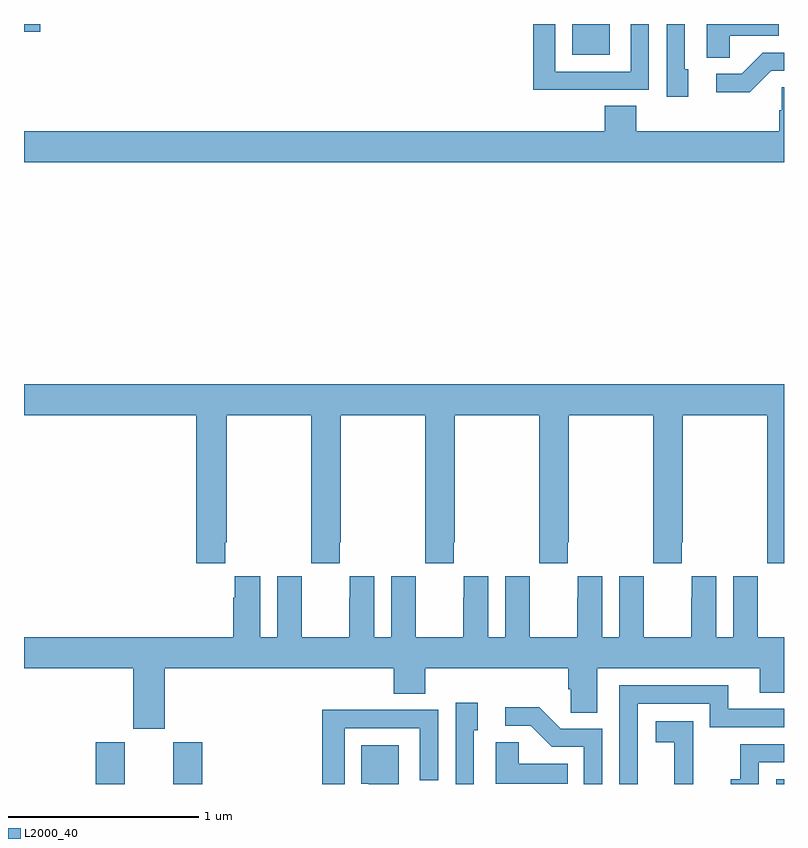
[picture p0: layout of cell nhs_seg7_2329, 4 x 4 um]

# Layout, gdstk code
import gdstk
lib = gdstk.Library(unit=1e-6, precision=1e-09)
def R(c, l, rs):  # rectangles x0, y0, x1, y1
    for r in rs: c.add(gdstk.rectangle(r[:2], r[2:], *l))
def P(c, l, *ps):  # polygons
    for p in ps: c.add(gdstk.Polygon(p, *l))
L2000_40 = (2000, 40)

nhs_seg7_2329 = lib.new_cell('nhs_seg7_2329')
R(nhs_seg7_2329, L2000_40, [(263.378,1008,263.53,1008.219), (263.786,1008,263.939,1008.219), (266.958,1008,267,1008.024), (265.886,1011.839,266.083,1012), (263,1011.959,263.086,1012)])
P(nhs_seg7_2329, L2000_40, [(265.973,1011.654),(266.289,1011.654),(266.289,1012),(266.193,1012),(266.193,1011.75),(265.797,1011.75),(265.797,1012),(265.681,1012),(265.681,1011.653),(265.973,1011.653)],
  [(266.715,1011.938),(266.972,1011.938),(266.972,1012),(266.594,1012),(266.594,1011.823),(266.715,1011.823)],
  [(266.497,1011.762),(266.478,1011.762),(266.478,1012),(266.382,1012),(266.382,1011.618),(266.497,1011.618)],
  [(266.934,1011.753),(267,1011.753),(267,1011.849),(266.888,1011.849),(266.777,1011.738),(266.643,1011.738),(266.643,1011.641),(266.821,1011.641)],
  [(267,1011.668),(266.988,1011.668),(266.988,1011.545),(266.975,1011.545),(266.975,1011.436),(266.222,1011.436),(266.222,1011.569),(266.057,1011.569),(266.057,1011.436),(263,1011.436),(263,1011.272),(267,1011.272)],
  [(264.059,1009.273),(264.066,1009.273),(264.066,1009.94),(264.511,1009.94),(264.511,1009.273),(264.513,1009.273),(264.513,1009.161),(264.663,1009.161),(264.663,1009.273),(264.666,1009.273),(264.666,1009.94),(265.111,1009.94),(265.111,1009.273),(265.113,1009.273),(265.113,1009.161),(265.263,1009.161),(265.263,1009.273),(265.266,1009.273),(265.266,1009.94),(265.711,1009.94),(265.711,1009.273),(265.713,1009.273),(265.713,1009.161),(265.863,1009.161),(265.863,1009.273),(265.866,1009.273),(265.866,1009.94),(266.311,1009.94),(266.311,1009.273),(266.313,1009.273),(266.313,1009.161),(266.463,1009.161),(266.463,1009.273),(266.466,1009.273),(266.466,1009.94),(266.911,1009.94),(266.911,1009.273),(266.913,1009.273),(266.913,1009.161),(267,1009.161),(267,1010.104),(263,1010.104),(263,1009.94),(263.906,1009.94),(263.906,1009.161),(264.059,1009.161)],
  [(266.873,1008.481),(267,1008.481),(267,1008.772),(266.863,1008.772),(266.863,1008.98),(266.862,1008.98),(266.862,1009.093),(266.732,1009.093),(266.732,1008.772),(266.644,1008.772),(266.644,1009.093),(266.514,1009.093),(266.514,1008.98),(266.513,1008.98),(266.513,1008.772),(266.263,1008.772),(266.263,1008.98),(266.262,1008.98),(266.262,1009.093),(266.132,1009.093),(266.132,1008.772),(266.044,1008.772),(266.044,1009.093),(265.914,1009.093),(265.914,1008.98),(265.913,1008.98),(265.913,1008.772),(265.663,1008.772),(265.663,1008.98),(265.662,1008.98),(265.662,1009.093),(265.532,1009.093),(265.532,1008.772),(265.444,1008.772),(265.444,1009.093),(265.314,1009.093),(265.314,1008.98),(265.313,1008.98),(265.313,1008.772),(265.063,1008.772),(265.063,1008.98),(265.062,1008.98),(265.062,1009.093),(264.932,1009.093),(264.932,1008.772),(264.844,1008.772),(264.844,1009.093),(264.714,1009.093),(264.714,1008.98),(264.713,1008.98),(264.713,1008.772),(264.463,1008.772),(264.463,1008.98),(264.462,1008.98),(264.462,1009.093),(264.332,1009.093),(264.332,1008.772),(264.244,1008.772),(264.244,1009.093),(264.11,1009.093),(264.11,1008.98),(264.101,1008.98),(264.101,1008.772),(263,1008.772),(263,1008.608),(263.576,1008.608),(263.576,1008.291),(263.74,1008.291),(263.74,1008.608),(264.947,1008.608),(264.947,1008.475),(265.112,1008.475),(265.112,1008.608),(265.865,1008.608),(265.865,1008.499),(265.878,1008.499),(265.878,1008.376),(266.017,1008.376),(266.017,1008.608),(266.873,1008.608)],
  [(266.229,1008.423),(266.61,1008.423),(266.61,1008.3),(267,1008.3),(267,1008.396),(266.707,1008.396),(266.707,1008.519),(266.133,1008.519),(266.133,1008),(266.229,1008)],
  [(265.368,1008.282),(265.387,1008.282),(265.387,1008.427),(265.272,1008.427),(265.272,1008),(265.368,1008)],
  [(266.043,1008.291),(265.824,1008.291),(265.711,1008.404),(265.533,1008.404),(265.533,1008.306),(265.667,1008.306),(265.778,1008.195),(265.947,1008.195),(265.947,1008),(266.043,1008)],
  [(264.687,1008.294),(265.083,1008.294),(265.083,1008.021),(265.179,1008.021),(265.179,1008.39),(264.863,1008.39),(264.863,1008.392),(264.571,1008.392),(264.571,1008),(264.687,1008)],
  [(266.522,1008.125),(266.523,1008.125),(266.523,1008.331),(266.325,1008.331),(266.325,1008.221),(266.423,1008.221),(266.423,1008),(266.522,1008)],
  [(265.862,1008.106),(265.605,1008.106),(265.605,1008.221),(265.484,1008.221),(265.484,1008.002),(265.862,1008.002)],
  [(266.868,1008.114),(267,1008.114),(267,1008.21),(266.77,1008.21),(266.77,1008.025),(266.721,1008.025),(266.721,1008),(266.868,1008)],
  [(264.973,1008.205),(264.776,1008.205),(264.776,1008.002),(264.815,1008.002),(264.815,1008),(264.973,1008)])

lib.write_gds('nhs_seg7_2329.gds')
